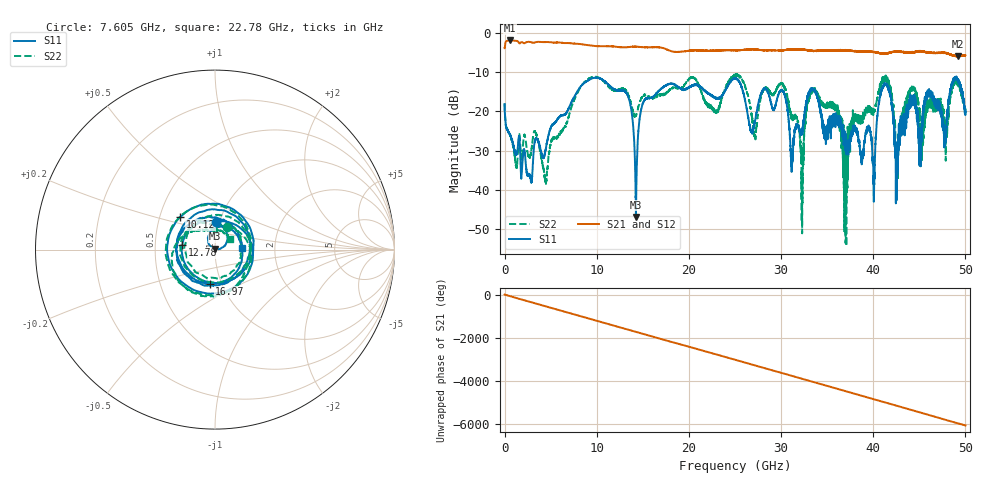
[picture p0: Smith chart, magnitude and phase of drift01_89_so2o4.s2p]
!Created with skrf (http://scikit-rf.org).
# Hz S RI R 50.0
!freq ReS11 ImS11 ReS21 ImS21 ReS12 ImS12 ReS22 ImS22
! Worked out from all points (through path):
!   10001 points, 300 kHz to 50 GHz, reference 50 ohm
!   highest |S21| = -2.00 dB at 595.3 MHz (marker M1); lowest = -6.1 dB at 49.2 GHz (marker M2)
!   group delay of S21, straight-line fit = 336 ps
!   lowest |S11| = -46.9 dB at 14.25 GHz (marker M3), VSWR 1.01, Z = 50.1 + j0.45 ohm
!   |S11| at or under -10 dB: start of sweep to end of sweep
!   |S22| runs from -54.3 to -10.5 dB; largest |S21 - S12| = 0.023
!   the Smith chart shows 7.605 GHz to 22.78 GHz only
!   S11 on the Smith chart (normalised r, x): 7.605 GHz: 0.96, +0.31; 10.12 GHz: 0.64, +0.25; 12.78 GHz: 0.69, +0.04; 16.97 GHz: 0.88, -0.35; 22.78 GHz: 1.35, +0.02
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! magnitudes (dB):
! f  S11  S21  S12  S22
! 300 kHz  -18.2  -4.0  -4.1  -18.0
! 595.3 MHz  -26.0  -2.0  -2.0  -26.1
! 4.435 GHz  -30.0  -2.4  -2.4  -37.3
! 7.605 GHz  -16.1  -2.8  -2.8  -16.9
! 8.335 GHz  -13.5  -3.0  -3.0  -13.5
! 10.12 GHz  -11.5  -3.4  -3.4  -11.4
! 12.78 GHz  -14.7  -3.8  -3.7  -14.3
! 14.25 GHz  -46.9  -3.6  -3.6  -21.1
! 16.67 GHz  -14.9  -3.7  -3.7  -15.8
! 16.97 GHz  -14.3  -3.8  -3.8  -15.6
! 22.78 GHz  -16.5  -4.6  -4.6  -20.1
! 25 GHz  -11.6  -4.5  -4.5  -11.0
! 27.15 GHz  -22.5  -4.3  -4.3  -26.0
! 30.2 GHz  -15.0  -4.5  -4.5  -13.4
! 32.26 GHz  -25.3  -4.3  -4.4  -39.3
! 33.34 GHz  -14.3  -4.6  -4.6  -14.4
! 37.02 GHz  -27.2  -4.5  -4.6  -35.6
! 40.06 GHz  -41.2  -4.9  -5.0  -20.2
! 41.67 GHz  -14.2  -5.1  -5.2  -13.0
! 42.56 GHz  -36.7  -4.8  -4.8  -28.5
! 49.2 GHz  -12.4  -6.1  -6.0  -12.6
! 50 GHz  -20.0  -5.8  -5.8  -19.8
